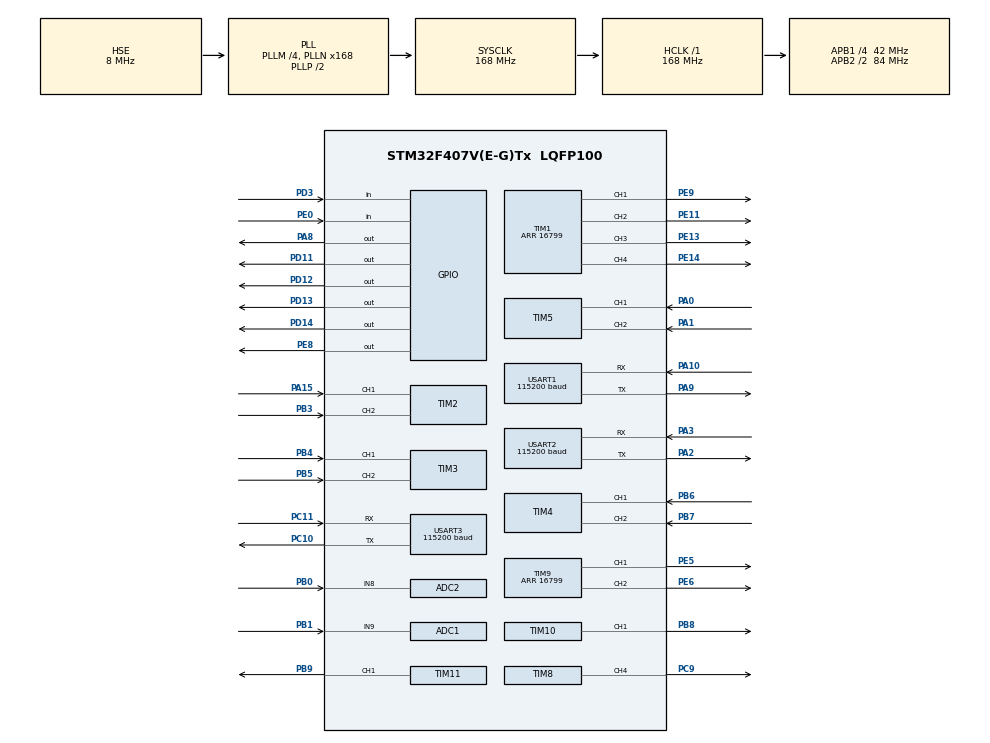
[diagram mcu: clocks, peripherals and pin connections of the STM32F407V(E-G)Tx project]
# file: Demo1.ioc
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ADC1.Channel-0\#ChannelRegularConversion=ADC_CHANNEL_9
ADC1.ClockPrescaler=ADC_CLOCK_SYNC_PCLK_DIV6
ADC1.NbrOfConversionFlag=1
ADC1.Rank-0\#ChannelRegularConversion=1
ADC1.SamplingTime-0\#ChannelRegularConversion=ADC_SAMPLETIME_480CYCLES
ADC1.master=1
ADC2.Channel-0\#ChannelRegularConversion=ADC_CHANNEL_8
ADC2.ClockPrescaler=ADC_CLOCK_SYNC_PCLK_DIV6
ADC2.NbrOfConversionFlag=1
ADC2.Rank-0\#ChannelRegularConversion=1
ADC2.SamplingTime-0\#ChannelRegularConversion=ADC_SAMPLETIME_480CYCLES
FREERTOS.INCLUDE_uxTaskGetStackHighWaterMark=1
FREERTOS.Tasks01=vofaTask,32,768,StartVofaTask,Default,NULL,Static,vofaTaskBuffer,vofaTaskControlBlock;displayTask,24,768,StartDisplayTask,Default,NULL,Static,displayTaskBuffer,displayTaskControlBlock
FREERTOS.configCHECK_FOR_STACK_OVERFLOW=2
FREERTOS.configMINIMAL_STACK_SIZE=256
FREERTOS.configTIMER_TASK_PRIORITY=2
FREERTOS.configTIMER_TASK_STACK_DEPTH=256
FREERTOS.configTOTAL_HEAP_SIZE=16384
FREERTOS.configUSE_MALLOC_FAILED_HOOK=1
FREERTOS.configUSE_TIMERS=1
Mcu.Family=STM32F4
Mcu.Name=STM32F407V(E-G)Tx
Mcu.Package=LQFP100
NVIC.PriorityGroup=NVIC_PRIORITYGROUP_4
NVIC.TIM6_DAC_IRQn=true\:15\:0\:false\:false\:true\:false\:false\:true\:true
NVIC.TIM7_IRQn=true\:2\:0\:true\:false\:true\:false\:true\:true\:true
NVIC.TimeBase=TIM6_DAC_IRQn
NVIC.TimeBaseIP=TIM6
NVIC.USART1_IRQn=true\:1\:0\:true\:false\:true\:false\:true\:true\:true
NVIC.USART2_IRQn=true\:1\:0\:true\:false\:true\:false\:true\:true\:true
NVIC.USART3_IRQn=true\:3\:0\:true\:false\:true\:false\:true\:true\:true
PA0-WKUP.Signal=S_TIM5_CH1
PA1.Signal=S_TIM5_CH2
PA10.Mode=Asynchronous
PA10.Signal=USART1_RX
PA13.Mode=Serial_Wire
PA13.Signal=SYS_JTMS-SWDIO
PA14.Mode=Serial_Wire
PA14.Signal=SYS_JTCK-SWCLK
PA15.Signal=S_TIM2_CH1_ETR
PA2.Mode=Asynchronous
PA2.Signal=USART2_TX
PA3.Mode=Asynchronous
PA3.Signal=USART2_RX
PA8.PinState=GPIO_PIN_RESET
PA8.Signal=GPIO_Output
PA9.Mode=Asynchronous
PA9.Signal=USART1_TX
PB0.Signal=ADCx_IN8
PB1.Signal=ADCx_IN9
PB3.Signal=S_TIM2_CH2
PB4.Signal=S_TIM3_CH1
PB5.Signal=S_TIM3_CH2
PB6.Signal=S_TIM4_CH1
PB7.Signal=S_TIM4_CH2
PB8.Signal=S_TIM10_CH1
PB9.Signal=S_TIM11_CH1
PC10.Mode=Asynchronous
PC10.Signal=USART3_TX
PC11.Mode=Asynchronous
PC11.Signal=USART3_RX
PC9.Signal=S_TIM8_CH4
PD11.Signal=GPIO_Output
PD12.Signal=GPIO_Output
PD13.Signal=GPIO_Output
PD14.Signal=GPIO_Output
PD3.GPIO_PuPd=GPIO_PULLUP
PD3.Signal=GPIO_Input
PE0.GPIO_PuPd=GPIO_PULLUP
PE0.Signal=GPIO_Input
PE11.Signal=S_TIM1_CH2
PE13.Signal=S_TIM1_CH3
PE14.Signal=S_TIM1_CH4
PE5.Signal=S_TIM9_CH1
PE6.Signal=S_TIM9_CH2
PE8.PinState=GPIO_PIN_SET
PE8.Signal=GPIO_Output
PE9.Signal=S_TIM1_CH1
PH0-OSC_IN.Mode=HSE-External-Oscillator
PH0-OSC_IN.Signal=RCC_OSC_IN
PH1-OSC_OUT.Mode=HSE-External-Oscillator
PH1-OSC_OUT.Signal=RCC_OSC_OUT
ProjectManager.HeapSize=0x200
ProjectManager.StackSize=0x1000
ProjectManager.TargetToolchain=MDK-ARM V5.32
RCC.48MHZClocksFreq_Value=48000000
RCC.AHBFreq_Value=168000000
RCC.APB1CLKDivider=RCC_HCLK_DIV4
RCC.APB1Freq_Value=42000000
RCC.APB1TimFreq_Value=84000000
RCC.APB2CLKDivider=RCC_HCLK_DIV2
RCC.APB2Freq_Value=84000000
RCC.APB2TimFreq_Value=168000000
RCC.CortexFreq_Value=168000000
RCC.HCLKFreq_Value=168000000
RCC.HSE_VALUE=8000000
RCC.HSI_VALUE=16000000
RCC.LSE_VALUE=32768
RCC.PLLM=4
RCC.PLLN=168
RCC.PLLQ=7
RCC.PLLSourceVirtual=RCC_PLLSOURCE_HSE
RCC.RCC_RTC_Clock_Source_FROM_HSE=RCC_RTCCLKSOURCE_HSE_DIV8
RCC.SYSCLKFreq_VALUE=168000000
RCC.SYSCLKSource=RCC_SYSCLKSOURCE_PLLCLK
RCC.VCOOutputFreq_Value=336000000
SH.ADCx_IN8.0=ADC2_IN8,IN8
SH.ADCx_IN9.0=ADC1_IN9,IN9
SH.S_TIM10_CH1.0=TIM10_CH1,PWM Generation1 CH1
SH.S_TIM11_CH1.0=TIM11_CH1,PWM Generation1 CH1
SH.S_TIM1_CH1.0=TIM1_CH1,PWM Generation1 CH1
SH.S_TIM1_CH2.0=TIM1_CH2,PWM Generation2 CH2
SH.S_TIM1_CH3.0=TIM1_CH3,PWM Generation3 CH3
SH.S_TIM1_CH4.0=TIM1_CH4,PWM Generation4 CH4
SH.S_TIM2_CH1_ETR.0=TIM2_CH1,Encoder_Interface
SH.S_TIM2_CH2.0=TIM2_CH2,Encoder_Interface
SH.S_TIM3_CH1.0=TIM3_CH1,Encoder_Interface
SH.S_TIM3_CH2.0=TIM3_CH2,Encoder_Interface
SH.S_TIM4_CH1.0=TIM4_CH1,Encoder_Interface
SH.S_TIM4_CH2.0=TIM4_CH2,Encoder_Interface
SH.S_TIM5_CH1.0=TIM5_CH1,Encoder_Interface
SH.S_TIM5_CH2.0=TIM5_CH2,Encoder_Interface
SH.S_TIM8_CH4.0=TIM8_CH4,PWM Generation4 CH4
SH.S_TIM9_CH1.0=TIM9_CH1,PWM Generation1 CH1
SH.S_TIM9_CH2.0=TIM9_CH2,PWM Generation2 CH2
TIM1.Channel-PWM\ Generation1\ CH1=TIM_CHANNEL_1
TIM1.Channel-PWM\ Generation2\ CH2=TIM_CHANNEL_2
TIM1.Channel-PWM\ Generation3\ CH3=TIM_CHANNEL_3
TIM1.Channel-PWM\ Generation4\ CH4=TIM_CHANNEL_4
TIM1.Period=16799
TIM10.Channel=TIM_CHANNEL_1
TIM10.Period=16799
TIM11.Channel=TIM_CHANNEL_1
TIM11.Period=16799
TIM2.EncoderMode=TIM_ENCODERMODE_TI12
TIM3.EncoderMode=TIM_ENCODERMODE_TI12
TIM7.Period=9999
TIM7.Prescaler=83
TIM8.Channel-PWM\ Generation4\ CH4=TIM_CHANNEL_4
TIM8.Period=19999
TIM8.Prescaler=167
TIM8.Pulse-PWM\ Generation4\ CH4=1576
TIM9.Channel-PWM\ Generation1\ CH1=TIM_CHANNEL_1
TIM9.Channel-PWM\ Generation2\ CH2=TIM_CHANNEL_2
TIM9.Period=16799
USART1.BaudRate=115200
USART1.VirtualMode=VM_ASYNC
USART2.BaudRate=115200
USART2.VirtualMode=VM_ASYNC
USART3.BaudRate=115200
USART3.VirtualMode=VM_ASYNC
VP_FREERTOS_VS_CMSIS_V2.Mode=CMSIS_V2
VP_SYS_VS_tim6.Mode=TIM6
VP_TIM10_VS_ClockSourceINT.Mode=Enable_Timer
VP_TIM11_VS_ClockSourceINT.Mode=Enable_Timer
VP_TIM1_VS_ClockSourceINT.Mode=Internal
VP_TIM7_VS_ClockSourceINT.Mode=Enable_Timer
VP_TIM8_VS_ClockSourceINT.Mode=Internal
VP_TIM9_VS_ClockSourceINT.Mode=Internal
board=custom

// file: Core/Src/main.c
/* USER CODE BEGIN Header */
/**
  ******************************************************************************
  * @file           : main.c
  * @brief          : Main program body
  ******************************************************************************
  * @attention
  *
  * Copyright (c) 2026 STMicroelectronics.
  * All rights reserved.
  *
  * This software is licensed under terms that can be found in the LICENSE file
  * in the root directory of this software component.
  * If no LICENSE file comes with this software, it is provided AS-IS.
  *
  ******************************************************************************
  */
/* USER CODE END Header */
#include "main.h"
#include "cmsis_os.h"
#include "adc.h"
#include "tim.h"
#include "usart.h"
#include "gpio.h"

/* USER CODE BEGIN Includes */
#include "mode_control.h"
#include "ackermann_config.h"
#include "vofa_debug.h"
#include "vision_command.h"

/* USER CODE END Includes */

void SystemClock_Config(void);
void MX_FREERTOS_Init(void);

int main(void)
{

  /* MCU Configuration--------------------------------------------------------*/

  /* Reset of all peripherals, Initializes the Flash interface and the Systick. */
  HAL_Init();

  /* Configure the system clock */
  SystemClock_Config();

  /* Initialize all configured peripherals */
  MX_GPIO_Init();
  MX_ADC1_Init();
  MX_ADC2_Init();
  MX_TIM1_Init();
  MX_TIM2_Init();
  MX_TIM3_Init();
  MX_TIM4_Init();
  MX_TIM5_Init();
  MX_TIM8_Init();
  MX_TIM9_Init();
  MX_TIM10_Init();
  MX_TIM11_Init();
  MX_USART2_UART_Init();
  MX_TIM7_Init();
  MX_USART3_UART_Init();
  MX_USART1_UART_Init();
  /* USER CODE BEGIN 2 */
  Vision_Init();
  if (HAL_UART_Receive_IT(&huart1, Usart1_Receive_buf, 1U) != HAL_OK) Error_Handler();
	delay_init();
	OLED_Init();
	/* Dedicated Ackermann chassis: never select geometry with the ADC knob. */
	Car_Mode = Akm_Car;
	Robot_Init(ACK_TRACK_M, ACK_WHEELBASE_M, 0.0f,
	           ACK_GEAR_RATIO, ACK_ENCODER_LINES, ACK_WHEEL_DIAMETER_M);
	Voltage = Get_battery_volt();
	ModeControl_Init();
	Vofa_Init();
	if (HAL_TIM_PWM_Start(&htim8, TIM_CHANNEL_4) != HAL_OK) Error_Handler();
	/* Discard startup counts; start the 100 Hz loop only after initialization. */
	Read_Encoder(2);
	Read_Encoder(3);
	__HAL_TIM_SET_COUNTER(&htim7, 0U);
	__HAL_TIM_CLEAR_FLAG(&htim7, TIM_FLAG_UPDATE);
	if (HAL_TIM_Base_Start_IT(&htim7) != HAL_OK) Error_Handler();

  /* USER CODE END 2 */

  /* Init scheduler */
  osKernelInitialize();

  /* Call init function for freertos objects (in cmsis_os2.c) */
  MX_FREERTOS_Init();

  /* Start scheduler */
  osKernelStart();

  /* We should never get here as control is now taken by the scheduler */

  /* Infinite loop */
  /* USER CODE BEGIN WHILE */
  Error_Handler(); /* A running scheduler must never return. */
  while (1)
  {
    /* USER CODE END WHILE */

  }
}

void SystemClock_Config(void)
{
  RCC_OscInitTypeDef RCC_OscInitStruct = {0};
  RCC_ClkInitTypeDef RCC_ClkInitStruct = {0};

  /** Configure the main internal regulator output voltage
  */
  __HAL_RCC_PWR_CLK_ENABLE();
  __HAL_PWR_VOLTAGESCALING_CONFIG(PWR_REGULATOR_VOLTAGE_SCALE1);

  /** Initializes the RCC Oscillators according to the specified parameters
  * in the RCC_OscInitTypeDef structure.
  */
  RCC_OscInitStruct.OscillatorType = RCC_OSCILLATORTYPE_HSE;
  RCC_OscInitStruct.HSEState = RCC_HSE_ON;
  RCC_OscInitStruct.PLL.PLLState = RCC_PLL_ON;
  RCC_OscInitStruct.PLL.PLLSource = RCC_PLLSOURCE_HSE;
  RCC_OscInitStruct.PLL.PLLM = 4;
  RCC_OscInitStruct.PLL.PLLN = 168;
  RCC_OscInitStruct.PLL.PLLP = RCC_PLLP_DIV2;
  RCC_OscInitStruct.PLL.PLLQ = 7;
  if (HAL_RCC_OscConfig(&RCC_OscInitStruct) != HAL_OK)
  {
    Error_Handler();
  }

  /** Initializes the CPU, AHB and APB buses clocks
  */
  RCC_ClkInitStruct.ClockType = RCC_CLOCKTYPE_HCLK|RCC_CLOCKTYPE_SYSCLK
                              |RCC_CLOCKTYPE_PCLK1|RCC_CLOCKTYPE_PCLK2;
  RCC_ClkInitStruct.SYSCLKSource = RCC_SYSCLKSOURCE_PLLCLK;
  RCC_ClkInitStruct.AHBCLKDivider = RCC_SYSCLK_DIV1;
  RCC_ClkInitStruct.APB1CLKDivider = RCC_HCLK_DIV4;
  RCC_ClkInitStruct.APB2CLKDivider = RCC_HCLK_DIV2;

  if (HAL_RCC_ClockConfig(&RCC_ClkInitStruct, FLASH_LATENCY_5) != HAL_OK)
  {
    Error_Handler();
  }
}

void HAL_TIM_PeriodElapsedCallback(TIM_HandleTypeDef *htim)
{
  if (htim->Instance == TIM6) {
    HAL_IncTick();
  }
  /* USER CODE BEGIN Callback 1 */
  Balance_TimerCallback(htim);
  /* USER CODE END Callback 1 */
}

void Error_Handler(void)
{
  /* USER CODE BEGIN Error_Handler_Debug */
  /* User can add his own implementation to report the HAL error return state */
  /* Halt drive outputs even if an error occurs after PWM was started. */
  __disable_irq();
  PWMA1 = 0; PWMA2 = 0; PWMB1 = 0; PWMB2 = 0;
  PWMC1 = 0; PWMC2 = 0; PWMD1 = 0; PWMD2 = 0;
  while (1)
  {
  }
  /* USER CODE END Error_Handler_Debug */
}

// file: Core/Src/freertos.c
/* USER CODE BEGIN Header */
/**
  ******************************************************************************
  * File Name          : freertos.c
  * Description        : Code for freertos applications
  ******************************************************************************
  * @attention
  *
  * Copyright (c) 2026 STMicroelectronics.
  * All rights reserved.
  *
  * This software is licensed under terms that can be found in the LICENSE file
  * in the root directory of this software component.
  * If no LICENSE file comes with this software, it is provided AS-IS.
  *
  ******************************************************************************
  */
/* USER CODE END Header */

#include "FreeRTOS.h"
#include "task.h"
#include "main.h"
#include "cmsis_os.h"

/* USER CODE BEGIN Includes */
#include "vofa_debug.h"
#include "vision_command.h"
#include "usart.h"
#include "show.h"
/* USER CODE END Includes */

typedef StaticTask_t osStaticThreadDef_t;

/* USER CODE BEGIN Variables */
volatile UBaseType_t g_vofa_stack_free_words;
volatile UBaseType_t g_display_stack_free_words;
const char * volatile g_rtos_assert_file;
volatile unsigned long g_rtos_assert_line;
/* USER CODE END Variables */
/* Definitions for vofaTask */
osThreadId_t vofaTaskHandle;
uint32_t vofaTaskBuffer[ 768 ];
osStaticThreadDef_t vofaTaskControlBlock;
const osThreadAttr_t vofaTask_attributes = {
  .name = "vofaTask",
  .cb_mem = &vofaTaskControlBlock,
  .cb_size = sizeof(vofaTaskControlBlock),
  .stack_mem = &vofaTaskBuffer[0],
  .stack_size = sizeof(vofaTaskBuffer),
  .priority = (osPriority_t) osPriorityAboveNormal,
};
/* Definitions for displayTask */
osThreadId_t displayTaskHandle;
uint32_t displayTaskBuffer[ 768 ];
osStaticThreadDef_t displayTaskControlBlock;
const osThreadAttr_t displayTask_attributes = {
  .name = "displayTask",
  .cb_mem = &displayTaskControlBlock,
  .cb_size = sizeof(displayTaskControlBlock),
  .stack_mem = &displayTaskBuffer[0],
  .stack_size = sizeof(displayTaskBuffer),
  .priority = (osPriority_t) osPriorityNormal,
};

void StartVofaTask(void *argument);
void StartDisplayTask(void *argument);

void MX_FREERTOS_Init(void); /* (MISRA C 2004 rule 8.1) */

/* Hook prototypes */
void vApplicationStackOverflowHook(xTaskHandle xTask, signed char *pcTaskName);
void vApplicationMallocFailedHook(void);

/* USER CODE BEGIN 4 */
void vApplicationStackOverflowHook(xTaskHandle xTask, signed char *pcTaskName)
{
  (void)xTask;
  AppRTOS_AssertFailed((const char *)pcTaskName, 0U);
}
/* USER CODE END 4 */

/* USER CODE BEGIN 5 */
void vApplicationMallocFailedHook(void)
{
  AppRTOS_AssertFailed("RTOS heap", 0U);
}
/* USER CODE END 5 */

void MX_FREERTOS_Init(void) {

  /* Create the thread(s) */
  /* creation of vofaTask */
  vofaTaskHandle = osThreadNew(StartVofaTask, NULL, &vofaTask_attributes);

  /* creation of displayTask */
  displayTaskHandle = osThreadNew(StartDisplayTask, NULL, &displayTask_attributes);

  /* USER CODE BEGIN RTOS_THREADS */
  if (vofaTaskHandle == NULL || displayTaskHandle == NULL) Error_Handler();
  /* USER CODE END RTOS_THREADS */

}

void StartVofaTask(void *argument)
{
  /* USER CODE BEGIN StartVofaTask */
  (void)argument;
  for (;;) {
    {
      static uint8_t lane_frame[9], lane_pending, lane_restore;
      static uint32_t lane_sent_ms;
      if(lane_restore && (uint32_t)(HAL_GetTick()-lane_sent_ms)>=2500U) {
        Vision_RequestLane(0U);lane_restore=0;
      }
      if(!lane_pending) lane_pending=Vision_TakeLaneCommand(lane_frame);
      if(lane_pending && HAL_UART_Transmit(&huart1,lane_frame,9,2)==HAL_OK) {
        Vision_OnLaneSent(lane_frame[6],HAL_GetTick());
        lane_restore=(lane_frame[6]!=0U);lane_sent_ms=HAL_GetTick();
        lane_pending=0;
      }
    }
    Vofa_Task();
    g_vofa_stack_free_words = uxTaskGetStackHighWaterMark(NULL);
    osDelay(2);
  }
  /* USER CODE END StartVofaTask */
}

void StartDisplayTask(void *argument)
{
  /* USER CODE BEGIN StartDisplayTask */
  (void)argument;
  for (;;) {
    show_task();
    g_display_stack_free_words = uxTaskGetStackHighWaterMark(NULL);
    osDelay(10);
  }
  /* USER CODE END StartDisplayTask */
}

/* USER CODE BEGIN Application */
void AppRTOS_AssertFailed(const char *file, unsigned long line)
{
  g_rtos_assert_file = file;
  g_rtos_assert_line = line;
  Error_Handler();
}
/* USER CODE END Application */
